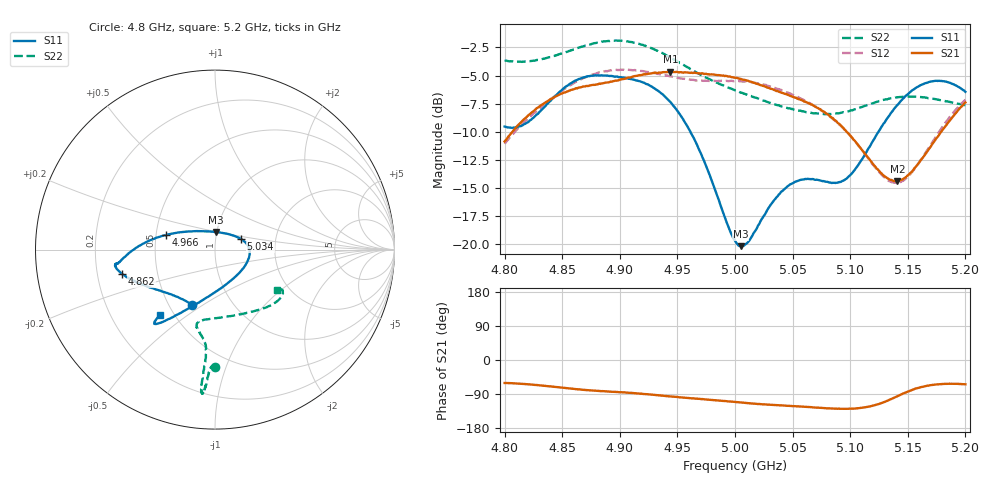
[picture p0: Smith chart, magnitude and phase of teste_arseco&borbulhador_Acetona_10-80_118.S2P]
! Network Analyzer HP8722D
! Hewlett-Packard
! Data name: Linha & Wilkinson
! Saver's name: Rodrigo Anjos
! Comments: Teste da utilização de aquisição
! continua pelo VNA HP8722D
! Time and date: 17/4/2025 15:20
!  Frequency  S11  S21  S12  S22
# HZ  S  MA R 50
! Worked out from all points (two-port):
!   401 points, 4.8 GHz to 5.2 GHz, reference 50 ohm
!   highest |S21| = -4.66 dB at 4.944 GHz (marker M1); lowest = -14.4 dB at 5.141 GHz (marker M2)
!   |S21| within 3 dB of the highest: 4.831 GHz to 5.068 GHz (236.5 MHz wide, 4.78 % of centre); 5.197578 GHz to end of sweep
!   lowest |S11| = -20.2 dB at 5.005 GHz (marker M3), VSWR 1.22, Z = 49.7 + j9.8 ohm
!   |S11| at or under -10 dB: 4.961 GHz to 5.125 GHz (163.3 MHz wide, 3.24 % of centre)
!   |S22| runs from -8.4 to -1.9 dB; largest |S21 - S12| = 0.87
!   S11 on the Smith chart (normalised r, x): 4.8 GHz: 0.65, -0.45; 4.862 GHz: 0.31, -0.12; 4.966 GHz: 0.57, +0.10; 5.034 GHz: 1.33, +0.16; 5.2 GHz: 0.42, -0.40
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4.8e9  0.3333 -113.0  0.2861 -60.7  0.2793 -174.9  0.6566 -89.9
4.819e9  0.3463 -132.9  0.367 -63.7  0.3562 -173.2  0.6502 -91.5
4.862e9  0.535 -165.4  0.4945 -76.8  0.528 -176.4  0.7415 -93.7
4.867e9  0.5482 -167.3  0.5002 -78.2  0.543 -177.6  0.7564 -93.7
4.899e9  0.5532 -171.9  0.5359 -85.0  0.5953 175.8  0.8039 -95.1
4.934e9  0.4778 -177.8  0.5798 -93.3  0.5714 172.0  0.7183 -95.5
4.944e9  0.4282 177.6  0.5848 -96.1  0.5575 172.0  0.6754 -95.4
4.966e9  0.2832 163.2  0.5775 -101.8  0.5342 173.8  0.5822 -94.9
5e9  0.1035 103.4  0.5503 -110.8  0.532 176.5  0.4833 -99.1
5.005e9  0.09785 86.0  0.5435 -112.3  0.5307 176.3  0.472 -100.2
5.013e9  0.1047 60.2  0.5283 -114.3  0.5248 176.1  0.4567 -101.9
5.034e9  0.1568 22.0  0.485 -119.0  0.4964 175.1  0.4193 -103.4
5.05e9  0.1864 5.5  0.4526 -121.8  0.4618 174.2  0.3994 -99.7
5.067e9  0.1946 -12.5  0.417 -124.6  0.4171 173.8  0.3829 -90.8
5.086e9  0.1875 -42.6  0.357 -128.2  0.3567 173.6  0.3807 -76.6
5.097e9  0.1956 -65.3  0.3154 -128.8  0.3152 174.7  0.3887 -67.5
5.134e9  0.3736 -115.9  0.194 -105.3  0.1904 -158.2  0.4444 -43.0
5.141e9  0.4162 -119.8  0.1905 -95.5  0.1873 -147.0  0.4502 -39.8
5.154e9  0.4843 -124.9  0.2113 -78.5  0.2099 -127.6  0.453 -35.4
5.171e9  0.5297 -128.6  0.2775 -66.0  0.2825 -111.8  0.4436 -31.6
5.185e9  0.5252 -129.9  0.3467 -62.9  0.3592 -107.0  0.4309 -30.9
5.2e9  0.4758 -130.2  0.4266 -64.1  0.4391 -106.2  0.415 -33.1
